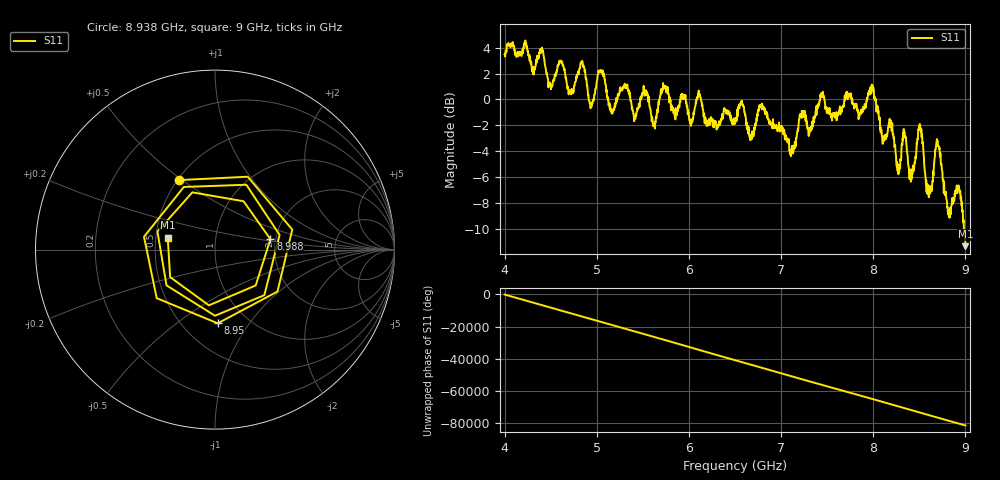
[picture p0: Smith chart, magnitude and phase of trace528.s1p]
! Created with skrf 1.8.0 (http://scikit-rf.org).
# Hz S RI R 50.0
!freq ReS11 ImS11
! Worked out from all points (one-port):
!   1601 points, 4 GHz to 9 GHz, reference 50 ohm
!   lowest |S11| = -11.3 dB at 9 GHz (marker M1), VSWR 1.75, Z = 28.9 + j4.2 ohm
!   |S11| at or under -10 dB: 8.983649 GHz to end of sweep
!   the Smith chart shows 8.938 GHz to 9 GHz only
!   S11 on the Smith chart (normalised r, x): 8.938 GHz: 0.51, +0.49; 8.95 GHz: 0.73, -0.72; 8.988 GHz: 1.87, +0.24; 9 GHz: 0.58, +0.08
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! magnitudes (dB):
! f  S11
! 4 GHz  3.5
! 4.5 GHz  1.1
! 4.625 GHz  2.9
! 4.719 GHz  0.5
! 4.847 GHz  2.8
! 4.938 GHz  -0.5
! 5.041 GHz  2.1
! 5.153 GHz  -0.7
! 5.25 GHz  0.8
! 5.875 GHz  -0.7
! 6.5 GHz  -1.7
! 6.681 GHz  -3.1
! 6.788 GHz  -0.4
! 7.125 GHz  -3.8
! 7.228 GHz  -1.1
! 7.75 GHz  0.4
! 7.984 GHz  1.1
! 8.266 GHz  -5.5
! 8.375 GHz  -4.5
! 8.419 GHz  -6.1
! 8.506 GHz  -1.9
! 8.597 GHz  -7.2
! 8.697 GHz  -3.2
! 8.816 GHz  -8.6
! 8.938 GHz  -7.2
! 8.95 GHz  -7.7
! 8.988 GHz  -10.1
! 9 GHz  -11.3
